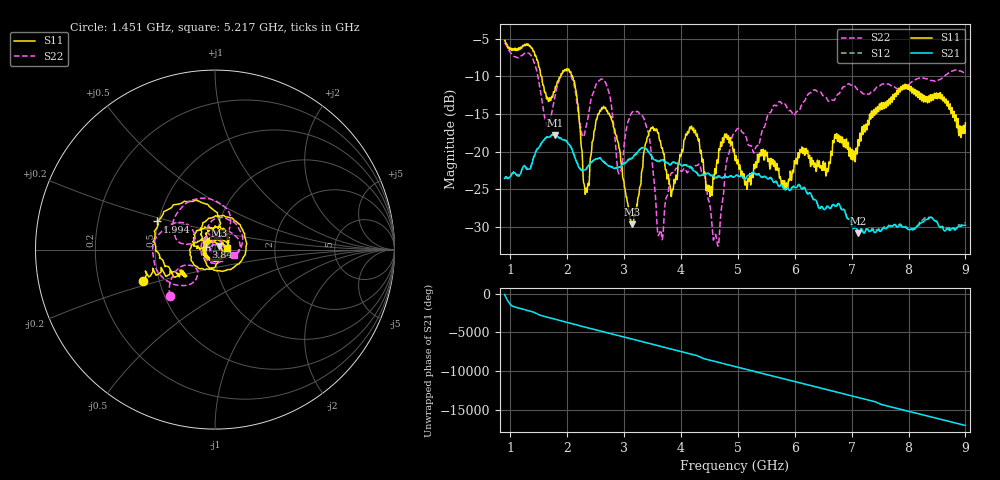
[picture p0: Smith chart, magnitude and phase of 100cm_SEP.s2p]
!Keysight Technologies N9915A: A.10.33
!Date: Friday, 08 May 2020 14:28:43
!Timezone: (UTC+08:00) Perth
!Model: N9915A
!Serial: MY53102697
!GPS Latitude:
!GPS Longitude:
!GPS TimeStamp: 0001-01-01 00:00:00Z
!GPS Seconds Since Last Read: 0
!CHECKSUM:1941627810
!Correction: S11(ON U?)S21(ON U?)S12(ON U?)S22(ON U?)
!S2P File: Measurements:S11,S21,S12,S22:
# Hz S DB R 50
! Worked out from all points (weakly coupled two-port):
!   1001 points, 900 MHz to 9 GHz, reference 50 ohm
!   highest |S21| = -17.76 dB at 1.783 GHz (marker M1); lowest = -30.8 dB at 7.121 GHz (marker M2)
!   lowest |S11| = -29.6 dB at 3.136 GHz (marker M3), VSWR 1.07, Z = 52.4 + j2.34 ohm
!   |S11| at or under -10 dB: 1.549 GHz to 1.884 GHz (334.9 MHz wide, 19.5 % of centre); 2.095 GHz to end of sweep
!   |S22| runs from -32.5 to -5.5 dB; largest |S21 - S12| = 0.0016
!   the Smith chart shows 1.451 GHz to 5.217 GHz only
!   S11 on the Smith chart (normalised r, x): 1.451 GHz: 0.41, -0.17; 1.994 GHz: 0.49, +0.18; 3.84 GHz: 0.90, +0.02; 5.217 GHz: 1.15, +0.02
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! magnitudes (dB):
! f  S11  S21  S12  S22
! 900 MHz  -5.2  -23.5  -23.5  -5.5
! 1.451 GHz  -7.2  -20.0  -19.9  -8.9
! 1.645 GHz  -12.9  -18.0  -18.0  -16.5
! 1.783 GHz  -11.9  -17.8  -17.7  -12.7
! 1.994 GHz  -9.0  -18.7  -18.6  -9.2
! 2.253 GHz  -19.6  -22.5  -22.4  -17.4
! 2.35 GHz  -25.4  -22.2  -22.1  -16.1
! 2.698 GHz  -14.6  -21.7  -21.7  -11.3
! 2.917 GHz  -19.5  -22.1  -22.0  -22.9
! 3.136 GHz  -29.6  -20.9  -20.8  -14.8
! 3.419 GHz  -17.9  -19.9  -19.8  -17.3
! 3.605 GHz  -17.5  -21.3  -21.2  -31.2
! 3.84 GHz  -25.3  -21.5  -21.5  -22.8
! 4.181 GHz  -16.7  -22.2  -22.1  -22.0
! 4.48 GHz  -25.2  -22.8  -22.8  -26.4
! 4.634 GHz  -21.1  -23.4  -23.3  -32.0
! 4.95 GHz  -21.1  -23.2  -23.2  -17.4
! 5.217 GHz  -23.2  -23.1  -23.0  -19.2
! 6.303 GHz  -21.2  -26.0  -26.0  -11.9
! 7.121 GHz  -18.7  -30.8  -30.6  -11.8
! 7.655 GHz  -13.1  -29.8  -29.8  -11.0
! 9 GHz  -16.2  -29.8  -29.5  -9.6
